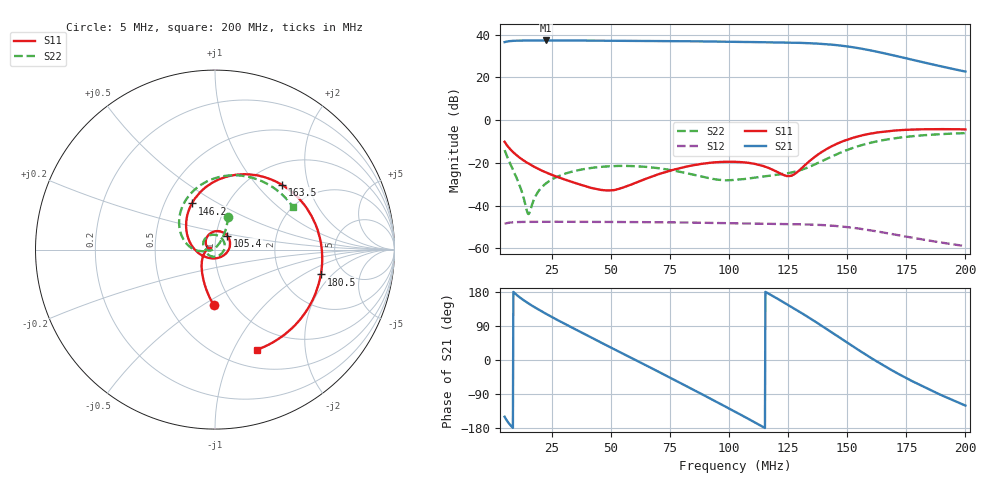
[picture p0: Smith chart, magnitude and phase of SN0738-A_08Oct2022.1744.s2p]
# Hz S DB R 50
! CMT, M5045, 22160017, 22.3.3/2
! Date: 10/8/2022 17:44:39
! Data: Format (Calibration Info)
! Freq	S11:dB/Ang(F2)	S21:dB/Ang(F2)	S12:dB/Ang(F2)	S22:dB/Ang(F2)
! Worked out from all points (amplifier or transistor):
!   1001 points, 5 MHz to 200 MHz, reference 50 ohm
!   highest |S21| = 37.2 dB at 22.55 MHz (marker M1)
!   |S21| within 3 dB of that: start of sweep to 151.3 MHz
!   unconditionally stable (mu >= 1): start of sweep to end of sweep
!   at 37.37 MHz: K = 1.80, MAG = 37.2 dB, |S12| = -47.6 dB
!   at 102.5 MHz: K = 2.04, MAG = 36.6 dB, |S12| = -48.3 dB
!   at 200 MHz: K = 15.97, MAG = 25.8 dB, |S12| = -59.0 dB
!   S11 on the Smith chart (normalised r, x): 5 MHz: 0.81, -0.56; 105.4 MHz: 1.13, +0.18; 146.2 MHz: 0.68, +0.38; 163.5 MHz: 1.40, +1.38; 180.5 MHz: 3.38, -1.48; 200 MHz: 0.71, -1.25
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5000000  -10.17 -91.2  36.45 -149.7  -48.54 -146.8  -14.07 68.6
1.1045e7  -17.34 -122.6  37.15 167.0  -47.71 170.0  -29.73 56.1
2.255e7  -24.53 -164.2  37.24 121.9  -47.61 125.3  -29.60 -169.9
2.996e7  -27.65 175.5  37.23 96.9  -47.62 101.2  -25.34 177.7
3.7565e7  -30.40 161.0  37.20 72.2  -47.64 77.6  -23.15 160.1
5.4725e7  -31.71 169.3  37.11 17.9  -47.71 25.5  -21.45 112.8
6.233e7  -28.55 166.8  37.07 -6.2  -47.75 2.5  -21.72 89.4
7.013e7  -25.36 153.6  37.01 -31.0  -47.82 -21.3  -22.54 63.6
7.8905e7  -22.55 132.3  36.93 -59.2  -47.91 -48.3  -24.14 31.1
8.651e7  -20.83 111.1  36.84 -83.8  -48.02 -72.0  -25.98 -1.9
9.4115e7  -19.78 87.7  36.73 -108.7  -48.15 -95.9  -27.73 -41.9
1.025e8  -19.55 60.0  36.59 -136.4  -48.32 -122.7  -28.00 -91.1
1.05425e8  -19.71 49.4  36.55 -146.2  -48.38 -132.1  -27.72 -107.5
1.12835e8  -21.01 19.1  36.45 -171.4  -48.49 -156.5  -26.66 -141.2
1.19855e8  -23.99 -22.7  36.35 163.9  -48.58 179.6  -25.68 -161.4
1.35065e8  -18.26 174.8  35.91 106.8  -48.92 123.6  -21.38 -174.5
1.4618e8  -10.82 116.6  34.97 61.7  -49.66 79.0  -15.70 167.6
1.5437e8  -7.69 80.5  33.71 28.1  -50.70 45.7  -12.32 145.5
1.63535e8  -5.69 44.0  31.75 -7.7  -52.29 10.3  -9.75 118.7
1.6763e8  -5.16 29.0  30.75 -22.6  -53.09 -4.6  -8.94 107.0
1.805e8  -4.35 -13.2  27.45 -65.2  -55.64 -47.0  -7.28 72.9
2e8  -4.36 -67.0  22.69 -120.3  -59.01 -100.6  -6.11 28.7
